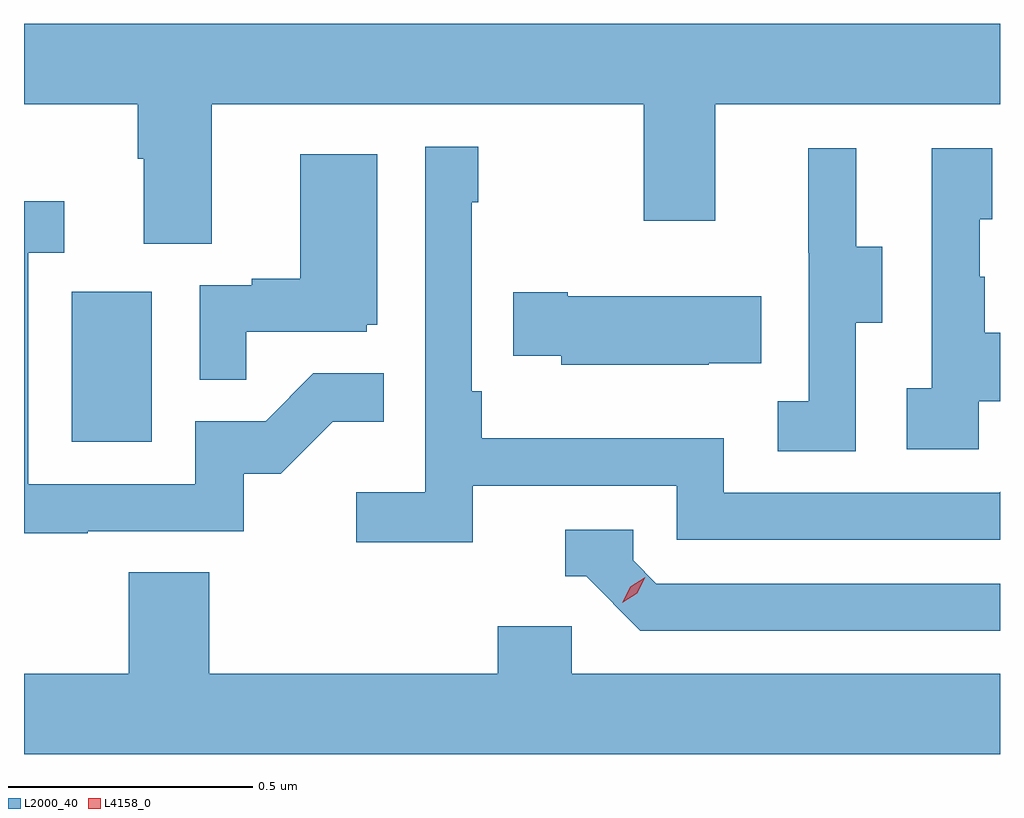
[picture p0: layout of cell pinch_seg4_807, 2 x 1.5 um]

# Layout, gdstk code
import gdstk
lib = gdstk.Library(unit=1e-6, precision=1e-09)
def R(c, l, rs):  # rectangles x0, y0, x1, y1
    for r in rs: c.add(gdstk.rectangle(r[:2], r[2:], *l))
def P(c, l, *ps):  # polygons
    for p in ps: c.add(gdstk.Polygon(p, *l))
L2000_40 = (2000, 40)
L4158_0 = (4158, 0)

pinch_seg4_807 = lib.new_cell('pinch_seg4_807')
R(pinch_seg4_807, L2000_40, [(806.012,813.444,806.176,813.751)])
P(pinch_seg4_807, L2000_40, [(805.914,814.136),(806.147,814.136),(806.147,814.024),(806.159,814.024),(806.159,813.85),(806.299,813.85),(806.299,814.136),(807.184,814.136),(807.184,813.897),(807.331,813.897),(807.331,814.136),(807.914,814.136),(807.914,814.3),(805.914,814.3)],
  [(806.834,813.354),(807.252,813.354),(807.252,813.243),(807.914,813.243),(807.914,813.341),(807.912,813.339),(807.348,813.339),(807.348,813.451),(806.852,813.451),(806.852,813.547),(806.832,813.547),(806.832,813.935),(806.845,813.935),(806.845,814.048),(806.736,814.048),(806.736,813.34),(806.595,813.34),(806.595,813.238),(806.834,813.238)],
  [(807.618,813.688),(807.673,813.688),(807.673,813.843),(807.619,813.843),(807.619,814.045),(807.521,814.045),(807.521,813.831),(807.522,813.831),(807.522,813.527),(807.459,813.527),(807.459,813.424),(807.618,813.424)],
  [(807.87,813.527),(807.914,813.527),(807.914,813.667),(807.883,813.667),(807.883,813.782),(807.873,813.782),(807.873,813.9),(807.898,813.9),(807.898,814.045),(807.774,814.045),(807.774,813.554),(807.723,813.554),(807.723,813.429),(807.87,813.429)],
  [(806.369,813.669),(806.616,813.669),(806.616,813.684),(806.638,813.684),(806.638,814.033),(806.48,814.033),(806.48,813.778),(806.381,813.778),(806.381,813.765),(806.274,813.765),(806.274,813.571),(806.369,813.571)],
  [(806.045,813.261),(806.364,813.261),(806.364,813.378),(806.44,813.378),(806.547,813.485),(806.651,813.485),(806.651,813.584),(806.507,813.584),(806.409,813.486),(806.265,813.486),(806.265,813.357),(805.923,813.357),(805.923,813.831),(805.996,813.831),(805.996,813.937),(805.914,813.937),(805.914,813.256),(806.045,813.256)],
  [(807.317,813.605),(807.425,813.605),(807.425,813.742),(807.028,813.742),(807.028,813.75),(806.917,813.75),(806.917,813.62),(807.015,813.62),(807.015,813.602),(807.317,813.602)],
  [(807.914,813.153),(807.21,813.153),(807.162,813.201),(807.162,813.264),(807.023,813.264),(807.023,813.168),(807.066,813.168),(807.177,813.057),(807.914,813.057)],
  [(807.914,812.968),(807.036,812.968),(807.036,813.066),(806.885,813.066),(806.885,812.968),(806.294,812.968),(806.294,813.176),(806.129,813.176),(806.129,812.968),(805.914,812.968),(805.914,812.804),(807.914,812.804)])
P(pinch_seg4_807, L4158_0, [(807.14,813.114),(807.14,813.114),(807.156,813.147),(807.187,813.166),(807.187,813.166),(807.187,813.166),(807.171,813.133),(807.14,813.114)])

lib.write_gds('pinch_seg4_807.gds')
